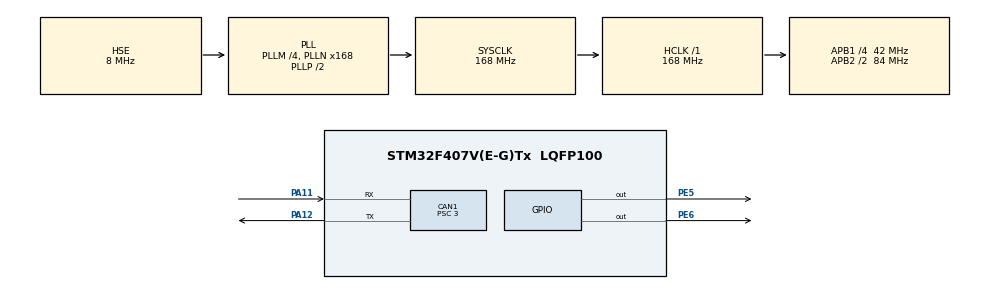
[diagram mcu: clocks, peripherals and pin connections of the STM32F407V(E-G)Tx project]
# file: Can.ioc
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CAN1.BS1=CAN_BS1_10TQ
CAN1.BS2=CAN_BS2_3TQ
CAN1.CalculateBaudRate=1000000
CAN1.CalculateTimeBit=1000
CAN1.CalculateTimeQuantum=71.42857142857143
CAN1.Mode=CAN_MODE_SILENT_LOOPBACK
CAN1.Prescaler=3
Mcu.Family=STM32F4
Mcu.Name=STM32F407V(E-G)Tx
Mcu.Package=LQFP100
NVIC.CAN1_RX0_IRQn=true\:0\:0\:false\:false\:true\:true\:true\:true
NVIC.CAN1_RX1_IRQn=true\:0\:0\:false\:false\:true\:true\:true\:true
NVIC.PriorityGroup=NVIC_PRIORITYGROUP_4
PA11.Mode=CAN_Activate
PA11.Signal=CAN1_RX
PA12.Mode=CAN_Activate
PA12.Signal=CAN1_TX
PA13.Mode=Serial_Wire
PA13.Signal=SYS_JTMS-SWDIO
PA14.Mode=Serial_Wire
PA14.Signal=SYS_JTCK-SWCLK
PE5.PinState=GPIO_PIN_SET
PE5.Signal=GPIO_Output
PE6.PinState=GPIO_PIN_SET
PE6.Signal=GPIO_Output
PH0-OSC_IN.Mode=HSE-External-Oscillator
PH0-OSC_IN.Signal=RCC_OSC_IN
PH1-OSC_OUT.Mode=HSE-External-Oscillator
PH1-OSC_OUT.Signal=RCC_OSC_OUT
ProjectManager.HeapSize=0x200
ProjectManager.StackSize=0x400
ProjectManager.TargetToolchain=CMake
RCC.48MHZClocksFreq_Value=84000000
RCC.AHBFreq_Value=168000000
RCC.APB1CLKDivider=RCC_HCLK_DIV4
RCC.APB1Freq_Value=42000000
RCC.APB1TimFreq_Value=84000000
RCC.APB2CLKDivider=RCC_HCLK_DIV2
RCC.APB2Freq_Value=84000000
RCC.APB2TimFreq_Value=168000000
RCC.CortexFreq_Value=168000000
RCC.HCLKFreq_Value=168000000
RCC.HSE_VALUE=8000000
RCC.HSI_VALUE=16000000
RCC.LSE_VALUE=32768
RCC.PLLM=4
RCC.PLLN=168
RCC.PLLSourceVirtual=RCC_PLLSOURCE_HSE
RCC.SYSCLKFreq_VALUE=168000000
RCC.SYSCLKSource=RCC_SYSCLKSOURCE_PLLCLK
RCC.VCOOutputFreq_Value=336000000
board=custom

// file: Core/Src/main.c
/* USER CODE BEGIN Header */
/**
  ******************************************************************************
  * @file           : main.c
  * @brief          : Main program body
  ******************************************************************************
  * @attention
  *
  * Copyright (c) 2026 STMicroelectronics.
  * All rights reserved.
  *
  * This software is licensed under terms that can be found in the LICENSE file
  * in the root directory of this software component.
  * If no LICENSE file comes with this software, it is provided AS-IS.
  *
  ******************************************************************************
  */
#include "main.h"
#include "can.h"
#include "gpio.h"

void SystemClock_Config(void);

int main(void)
{

  /* MCU Configuration--------------------------------------------------------*/

  /* Reset of all peripherals, Initializes the Flash interface and the Systick. */
  HAL_Init();

  /* Configure the system clock */
  SystemClock_Config();

  /* Initialize all configured peripherals */
  MX_GPIO_Init();
  MX_CAN1_Init();
  /* USER CODE BEGIN 2 */
  CAN_TxHeaderTypeDef txHeader = {0};
  txHeader.StdId = 0x200;
  txHeader.IDE = CAN_ID_STD;
  txHeader.RTR = CAN_RTR_DATA;
  txHeader.DLC = 8;
  txHeader.TransmitGlobalTime = DISABLE;

  /* CAN ID 0x200 controls motor IDs 1-4; ID 1 current is big-endian. */
  const int16_t motorCurrent = 1000;
  uint16_t currentBits = (uint16_t)motorCurrent;
  uint8_t txData[8] = {
    (uint8_t)(currentBits >> 8),
    (uint8_t)currentBits,
    0, 0, 0, 0, 0, 0
  };
  uint32_t txMailbox;

  /* USER CODE END 2 */

  /* Infinite loop */
  while (1)
  {

    /* USER CODE BEGIN 3 */
    if (HAL_CAN_GetTxMailboxesFreeLevel(&hcan1) > 0U)
    {
      if (HAL_CAN_AddTxMessage(&hcan1, &txHeader, txData, &txMailbox) != HAL_OK)
      {
        Error_Handler();
      }
    }

    HAL_Delay(10);
  }
  /* USER CODE END 3 */
}

void SystemClock_Config(void)
{
  RCC_OscInitTypeDef RCC_OscInitStruct = {0};
  RCC_ClkInitTypeDef RCC_ClkInitStruct = {0};

  /** Configure the main internal regulator output voltage
  */
  __HAL_RCC_PWR_CLK_ENABLE();
  __HAL_PWR_VOLTAGESCALING_CONFIG(PWR_REGULATOR_VOLTAGE_SCALE1);

  /** Initializes the RCC Oscillators according to the specified parameters
  * in the RCC_OscInitTypeDef structure.
  */
  RCC_OscInitStruct.OscillatorType = RCC_OSCILLATORTYPE_HSE;
  RCC_OscInitStruct.HSEState = RCC_HSE_ON;
  RCC_OscInitStruct.PLL.PLLState = RCC_PLL_ON;
  RCC_OscInitStruct.PLL.PLLSource = RCC_PLLSOURCE_HSE;
  RCC_OscInitStruct.PLL.PLLM = 4;
  RCC_OscInitStruct.PLL.PLLN = 168;
  RCC_OscInitStruct.PLL.PLLP = RCC_PLLP_DIV2;
  RCC_OscInitStruct.PLL.PLLQ = 4;
  if (HAL_RCC_OscConfig(&RCC_OscInitStruct) != HAL_OK)
  {
    Error_Handler();
  }

  /** Initializes the CPU, AHB and APB buses clocks
  */
  RCC_ClkInitStruct.ClockType = RCC_CLOCKTYPE_HCLK|RCC_CLOCKTYPE_SYSCLK
                              |RCC_CLOCKTYPE_PCLK1|RCC_CLOCKTYPE_PCLK2;
  RCC_ClkInitStruct.SYSCLKSource = RCC_SYSCLKSOURCE_PLLCLK;
  RCC_ClkInitStruct.AHBCLKDivider = RCC_SYSCLK_DIV1;
  RCC_ClkInitStruct.APB1CLKDivider = RCC_HCLK_DIV4;
  RCC_ClkInitStruct.APB2CLKDivider = RCC_HCLK_DIV2;

  if (HAL_RCC_ClockConfig(&RCC_ClkInitStruct, FLASH_LATENCY_5) != HAL_OK)
  {
    Error_Handler();
  }
}

void Error_Handler(void)
{
  __disable_irq();
  while (1)
  {
  }
}
